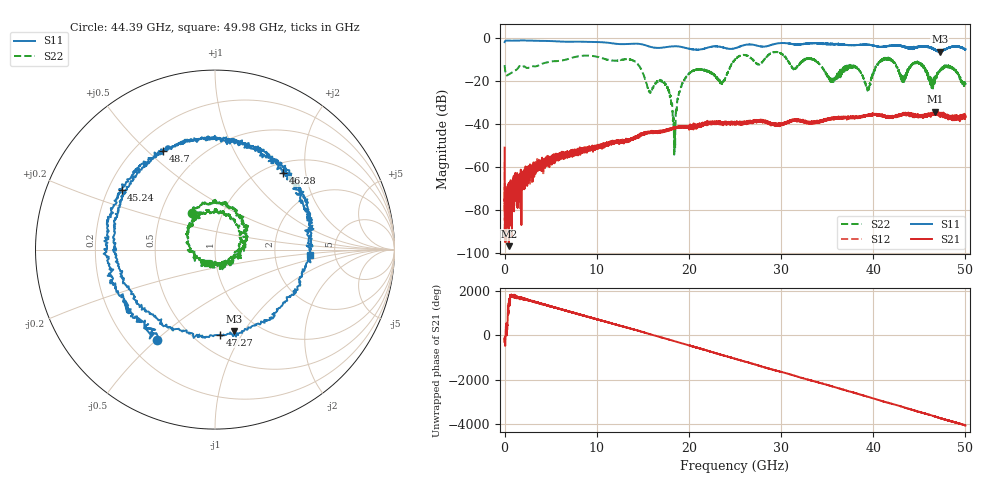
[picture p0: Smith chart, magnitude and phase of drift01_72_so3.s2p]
!Created with skrf (http://scikit-rf.org).
# Hz S RI R 50.0
!freq ReS11 ImS11 ReS21 ImS21 ReS12 ImS12 ReS22 ImS22
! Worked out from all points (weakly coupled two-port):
!   10001 points, 300 kHz to 50 GHz, reference 50 ohm
!   highest |S21| = -34.32 dB at 46.76 GHz (marker M1); lowest = -96.6 dB at 455.3 MHz (marker M2)
!   lowest |S11| = -6.6 dB at 47.21 GHz (marker M3), VSWR 2.76, Z = 38.9 - j45.4 ohm
!   |S11| at or under -10 dB: nowhere
!   |S22| runs from -54.2 to -6.6 dB; largest |S21 - S12| = 0.0041
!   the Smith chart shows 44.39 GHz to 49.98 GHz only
!   S11 on the Smith chart (normalised r, x): 44.39 GHz: 0.32, -0.50; 45.24 GHz: 0.25, +0.28; 46.28 GHz: 1.19, +1.50; 47.27 GHz: 0.66, -0.81; 48.7 GHz: 0.31, +0.56; 49.98 GHz: 3.22, -0.29
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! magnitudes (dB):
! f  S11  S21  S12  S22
! 300 kHz  -2.1  -51.0  -57.7  -12.8
! 455.3 MHz  -1.4  -96.6  -90.2  -17.1
! 8.335 GHz  -1.9  -51.9  -52.4  -8.5
! 16.67 GHz  -4.8  -43.7  -43.7  -20.0
! 17.74 GHz  -4.3  -42.9  -42.6  -24.2
! 18.45 GHz  -4.1  -41.5  -41.6  -43.8
! 19.95 GHz  -5.1  -41.6  -41.4  -17.0
! 23.63 GHz  -4.5  -39.2  -39.9  -20.8
! 25 GHz  -5.0  -39.6  -39.5  -10.2
! 33.34 GHz  -2.6  -39.4  -39.6  -9.9
! 39.43 GHz  -3.3  -35.8  -36.1  -23.6
! 41.67 GHz  -3.8  -36.6  -36.4  -10.3
! 43.25 GHz  -4.1  -35.4  -35.9  -19.3
! 44.39 GHz  -4.5  -35.5  -36.1  -12.3
! 45.24 GHz  -4.2  -36.8  -36.3  -12.4
! 46.28 GHz  -4.9  -35.5  -35.6  -21.1
! 46.76 GHz  -5.8  -34.3  -34.8  -17.8
! 47.21 GHz  -6.6  -35.2  -35.6  -15.5
! 47.27 GHz  -6.5  -35.4  -34.9  -14.9
! 48.7 GHz  -4.2  -37.1  -36.8  -14.5
! 49.98 GHz  -5.5  -36.3  -36.5  -21.3
! 50 GHz  -5.4  -36.6  -36.9  -21.8
